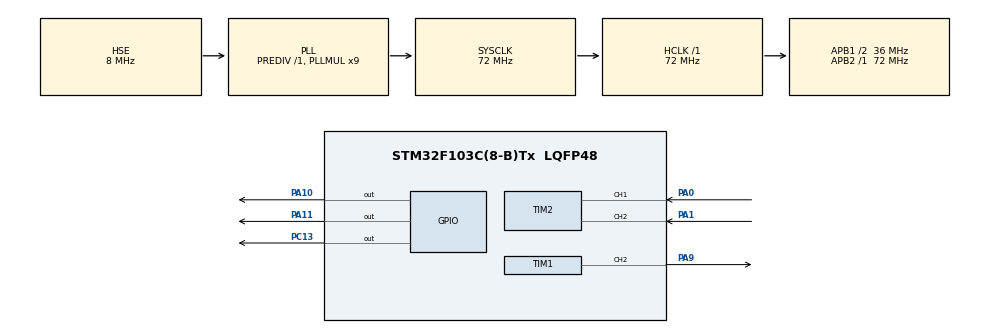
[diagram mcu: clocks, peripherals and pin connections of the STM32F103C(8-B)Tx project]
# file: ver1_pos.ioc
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Mcu.Family=STM32F1
Mcu.Name=STM32F103C(8-B)Tx
Mcu.Package=LQFP48
NVIC.PriorityGroup=NVIC_PRIORITYGROUP_4
NVIC.TIM1_UP_IRQn=true\:0\:0\:false\:false\:true\:true\:true\:true
PA0-WKUP.Signal=S_TIM2_CH1_ETR
PA1.Signal=S_TIM2_CH2
PA10.Signal=GPIO_Output
PA11.Signal=GPIO_Output
PA13.Mode=Serial_Wire
PA13.Signal=SYS_JTMS-SWDIO
PA14.Mode=Serial_Wire
PA14.Signal=SYS_JTCK-SWCLK
PA9.Signal=S_TIM1_CH2
PC13-TAMPER-RTC.Signal=GPIO_Output
PD0-OSC_IN.Mode=HSE-External-Oscillator
PD0-OSC_IN.Signal=RCC_OSC_IN
PD1-OSC_OUT.Mode=HSE-External-Oscillator
PD1-OSC_OUT.Signal=RCC_OSC_OUT
ProjectManager.HeapSize=0x200
ProjectManager.StackSize=0x400
ProjectManager.TargetToolchain=MDK-ARM V5.32
RCC.AHBFreq_Value=72000000
RCC.APB1CLKDivider=RCC_HCLK_DIV2
RCC.APB1Freq_Value=36000000
RCC.APB1TimFreq_Value=72000000
RCC.APB2Freq_Value=72000000
RCC.APB2TimFreq_Value=72000000
RCC.HCLKFreq_Value=72000000
RCC.PLLMUL=RCC_PLL_MUL9
RCC.PLLSourceVirtual=RCC_PLLSOURCE_HSE
RCC.SYSCLKFreq_VALUE=72000000
RCC.SYSCLKSource=RCC_SYSCLKSOURCE_PLLCLK
RCC.USBFreq_Value=72000000
SH.S_TIM1_CH2.0=TIM1_CH2,PWM Generation2 CH2
SH.S_TIM2_CH1_ETR.0=TIM2_CH1,Encoder_Interface
SH.S_TIM2_CH2.0=TIM2_CH2,Encoder_Interface
TIM1.Channel-PWM\ Generation2\ CH2=TIM_CHANNEL_2
TIM1.Period=255
TIM1.Prescaler=2811
VP_TIM1_VS_ClockSourceINT.Mode=Internal
board=custom

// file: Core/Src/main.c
/* USER CODE BEGIN Header */
/**
  ******************************************************************************
  * @file           : main.c
  * @brief          : Main program body
  ******************************************************************************
  * @attention
  *
  * Copyright (c) 2025 STMicroelectronics.
  * All rights reserved.
  *
  * This software is licensed under terms that can be found in the LICENSE file
  * in the root directory of this software component.
  * If no LICENSE file comes with this software, it is provided AS-IS.
  *
  ******************************************************************************
  */
/* USER CODE END Header */
#include "main.h"

/* USER CODE BEGIN Includes */
#include "math.h"
/* USER CODE END Includes */

TIM_HandleTypeDef htim1;
TIM_HandleTypeDef htim2;

void SystemClock_Config(void);
static void MX_GPIO_Init(void);
static void MX_TIM1_Init(void);
static void MX_TIM2_Init(void);

/* USER CODE BEGIN 0 */
#define COUNTER_MAX 65536
#define COUNTER_MID (COUNTER_MAX / 2)
#define RESET_VALUE 0
#define dt 0.01f

volatile short count_chuan = 0;
volatile long long total_ticks = 0;

float Error, angle_current, P_part, I_part, D_part, pre_Error, pre_pre_Error;
uint8_t Out, pre_Out;
float Kp = 10, Ki = 5, Kd = 2.5;

void control_motor(uint8_t dir) {
    if (dir > 0) {
        HAL_GPIO_WritePin(GPIOA, GPIO_PIN_10, 1);
        HAL_GPIO_WritePin(GPIOA, GPIO_PIN_11, 0);
    } else {
        HAL_GPIO_WritePin(GPIOA, GPIO_PIN_10, 0);
        HAL_GPIO_WritePin(GPIOA, GPIO_PIN_11, 1);
    }
}

int32_t processEncoderCount(void) {
    uint16_t raw_count = __HAL_TIM_GET_COUNTER(&htim2);
    int32_t calibrated_count;

    if (raw_count >= COUNTER_MID) {
        calibrated_count = -(COUNTER_MAX - raw_count);
    } else {
        calibrated_count = raw_count;
    }

    if (calibrated_count >= COUNTER_MID || calibrated_count <= -COUNTER_MID) {
        calibrated_count = 0;
        __HAL_TIM_SET_COUNTER(&htim2, 0);
    }

    return calibrated_count;
}

void PID(uint8_t setpoint) {
    count_chuan = processEncoderCount();

    angle_current = count_chuan * (360.0f / 985.0f);

    if (angle_current < setpoint) {
        control_motor(0);
    } else {
        control_motor(1);
    }
    Error = (float)setpoint - angle_current;

    P_part = Kp * (Error - pre_Error);
    I_part = 0.5f * Ki * dt * (Error + pre_Error);
    D_part = Kd / dt * (Error - 2 * pre_Error + pre_pre_Error);

    Out = pre_Out + P_part + I_part + D_part;

    if (Out > 200) Out = 200;
    if (Out < 0) Out = 0;

    if (fabs(Error) < 1.0f) {
        __HAL_TIM_SET_COMPARE(&htim1, TIM_CHANNEL_2, 0);
        return;
    }

    __HAL_TIM_SET_COMPARE(&htim1, TIM_CHANNEL_2, (uint8_t)Out);

    pre_pre_Error = pre_Error;
    pre_Error = Error;
    pre_Out = Out;
}

void HAL_TIM_PeriodElapsedCallback(TIM_HandleTypeDef *htim) {
    if (htim->Instance == htim1.Instance) {
        PID(250);
    }
}

/* USER CODE END 0 */

int main(void)
{

  /* MCU Configuration--------------------------------------------------------*/

  /* Reset of all peripherals, Initializes the Flash interface and the Systick. */
  HAL_Init();

  /* Configure the system clock */
  SystemClock_Config();

  /* Initialize all configured peripherals */
  MX_GPIO_Init();
  MX_TIM1_Init();
  MX_TIM2_Init();
  /* USER CODE BEGIN 2 */
	HAL_TIM_Base_Start_IT(&htim1);
	HAL_TIM_PWM_Start(&htim1, TIM_CHANNEL_2);
	HAL_TIM_Encoder_Start(&htim2, TIM_CHANNEL_ALL);
  /* USER CODE END 2 */

  /* Infinite loop */
  while (1)
  {

  }
}

void SystemClock_Config(void)
{
  RCC_OscInitTypeDef RCC_OscInitStruct = {0};
  RCC_ClkInitTypeDef RCC_ClkInitStruct = {0};

  /** Initializes the RCC Oscillators according to the specified parameters
  * in the RCC_OscInitTypeDef structure.
  */
  RCC_OscInitStruct.OscillatorType = RCC_OSCILLATORTYPE_HSE;
  RCC_OscInitStruct.HSEState = RCC_HSE_ON;
  RCC_OscInitStruct.HSEPredivValue = RCC_HSE_PREDIV_DIV1;
  RCC_OscInitStruct.HSIState = RCC_HSI_ON;
  RCC_OscInitStruct.PLL.PLLState = RCC_PLL_ON;
  RCC_OscInitStruct.PLL.PLLSource = RCC_PLLSOURCE_HSE;
  RCC_OscInitStruct.PLL.PLLMUL = RCC_PLL_MUL9;
  if (HAL_RCC_OscConfig(&RCC_OscInitStruct) != HAL_OK)
  {
    Error_Handler();
  }

  /** Initializes the CPU, AHB and APB buses clocks
  */
  RCC_ClkInitStruct.ClockType = RCC_CLOCKTYPE_HCLK|RCC_CLOCKTYPE_SYSCLK
                              |RCC_CLOCKTYPE_PCLK1|RCC_CLOCKTYPE_PCLK2;
  RCC_ClkInitStruct.SYSCLKSource = RCC_SYSCLKSOURCE_PLLCLK;
  RCC_ClkInitStruct.AHBCLKDivider = RCC_SYSCLK_DIV1;
  RCC_ClkInitStruct.APB1CLKDivider = RCC_HCLK_DIV2;
  RCC_ClkInitStruct.APB2CLKDivider = RCC_HCLK_DIV1;

  if (HAL_RCC_ClockConfig(&RCC_ClkInitStruct, FLASH_LATENCY_2) != HAL_OK)
  {
    Error_Handler();
  }
}

static void MX_TIM1_Init(void)
{

  TIM_ClockConfigTypeDef sClockSourceConfig = {0};
  TIM_MasterConfigTypeDef sMasterConfig = {0};
  TIM_OC_InitTypeDef sConfigOC = {0};
  TIM_BreakDeadTimeConfigTypeDef sBreakDeadTimeConfig = {0};

  htim1.Instance = TIM1;
  htim1.Init.Prescaler = 2811;
  htim1.Init.CounterMode = TIM_COUNTERMODE_UP;
  htim1.Init.Period = 255;
  htim1.Init.ClockDivision = TIM_CLOCKDIVISION_DIV1;
  htim1.Init.RepetitionCounter = 0;
  htim1.Init.AutoReloadPreload = TIM_AUTORELOAD_PRELOAD_DISABLE;
  if (HAL_TIM_Base_Init(&htim1) != HAL_OK)
  {
    Error_Handler();
  }
  sClockSourceConfig.ClockSource = TIM_CLOCKSOURCE_INTERNAL;
  if (HAL_TIM_ConfigClockSource(&htim1, &sClockSourceConfig) != HAL_OK)
  {
    Error_Handler();
  }
  if (HAL_TIM_PWM_Init(&htim1) != HAL_OK)
  {
    Error_Handler();
  }
  sMasterConfig.MasterOutputTrigger = TIM_TRGO_RESET;
  sMasterConfig.MasterSlaveMode = TIM_MASTERSLAVEMODE_DISABLE;
  if (HAL_TIMEx_MasterConfigSynchronization(&htim1, &sMasterConfig) != HAL_OK)
  {
    Error_Handler();
  }
  sConfigOC.OCMode = TIM_OCMODE_PWM1;
  sConfigOC.Pulse = 0;
  sConfigOC.OCPolarity = TIM_OCPOLARITY_HIGH;
  sConfigOC.OCNPolarity = TIM_OCNPOLARITY_HIGH;
  sConfigOC.OCFastMode = TIM_OCFAST_DISABLE;
  sConfigOC.OCIdleState = TIM_OCIDLESTATE_RESET;
  sConfigOC.OCNIdleState = TIM_OCNIDLESTATE_RESET;
  if (HAL_TIM_PWM_ConfigChannel(&htim1, &sConfigOC, TIM_CHANNEL_2) != HAL_OK)
  {
    Error_Handler();
  }
  sBreakDeadTimeConfig.OffStateRunMode = TIM_OSSR_DISABLE;
  sBreakDeadTimeConfig.OffStateIDLEMode = TIM_OSSI_DISABLE;
  sBreakDeadTimeConfig.LockLevel = TIM_LOCKLEVEL_OFF;
  sBreakDeadTimeConfig.DeadTime = 0;
  sBreakDeadTimeConfig.BreakState = TIM_BREAK_DISABLE;
  sBreakDeadTimeConfig.BreakPolarity = TIM_BREAKPOLARITY_HIGH;
  sBreakDeadTimeConfig.AutomaticOutput = TIM_AUTOMATICOUTPUT_DISABLE;
  if (HAL_TIMEx_ConfigBreakDeadTime(&htim1, &sBreakDeadTimeConfig) != HAL_OK)
  {
    Error_Handler();
  }
  HAL_TIM_MspPostInit(&htim1);

}

static void MX_TIM2_Init(void)
{

  TIM_Encoder_InitTypeDef sConfig = {0};
  TIM_MasterConfigTypeDef sMasterConfig = {0};

  htim2.Instance = TIM2;
  htim2.Init.Prescaler = 0;
  htim2.Init.CounterMode = TIM_COUNTERMODE_UP;
  htim2.Init.Period = 65535;
  htim2.Init.ClockDivision = TIM_CLOCKDIVISION_DIV1;
  htim2.Init.AutoReloadPreload = TIM_AUTORELOAD_PRELOAD_DISABLE;
  sConfig.EncoderMode = TIM_ENCODERMODE_TI1;
  sConfig.IC1Polarity = TIM_ICPOLARITY_RISING;
  sConfig.IC1Selection = TIM_ICSELECTION_DIRECTTI;
  sConfig.IC1Prescaler = TIM_ICPSC_DIV1;
  sConfig.IC1Filter = 0;
  sConfig.IC2Polarity = TIM_ICPOLARITY_RISING;
  sConfig.IC2Selection = TIM_ICSELECTION_DIRECTTI;
  sConfig.IC2Prescaler = TIM_ICPSC_DIV1;
  sConfig.IC2Filter = 0;
  if (HAL_TIM_Encoder_Init(&htim2, &sConfig) != HAL_OK)
  {
    Error_Handler();
  }
  sMasterConfig.MasterOutputTrigger = TIM_TRGO_RESET;
  sMasterConfig.MasterSlaveMode = TIM_MASTERSLAVEMODE_DISABLE;
  if (HAL_TIMEx_MasterConfigSynchronization(&htim2, &sMasterConfig) != HAL_OK)
  {
    Error_Handler();
  }

}

static void MX_GPIO_Init(void)
{
  GPIO_InitTypeDef GPIO_InitStruct = {0};

  /* GPIO Ports Clock Enable */
  __HAL_RCC_GPIOC_CLK_ENABLE();
  __HAL_RCC_GPIOD_CLK_ENABLE();
  __HAL_RCC_GPIOA_CLK_ENABLE();

  /*Configure GPIO pin Output Level */
  HAL_GPIO_WritePin(GPIOC, GPIO_PIN_13, GPIO_PIN_RESET);

  /*Configure GPIO pin Output Level */
  HAL_GPIO_WritePin(GPIOA, GPIO_PIN_10|GPIO_PIN_11, GPIO_PIN_RESET);

  /*Configure GPIO pin : PC13 */
  GPIO_InitStruct.Pin = GPIO_PIN_13;
  GPIO_InitStruct.Mode = GPIO_MODE_OUTPUT_PP;
  GPIO_InitStruct.Pull = GPIO_NOPULL;
  GPIO_InitStruct.Speed = GPIO_SPEED_FREQ_LOW;
  HAL_GPIO_Init(GPIOC, &GPIO_InitStruct);

  /*Configure GPIO pins : PA10 PA11 */
  GPIO_InitStruct.Pin = GPIO_PIN_10|GPIO_PIN_11;
  GPIO_InitStruct.Mode = GPIO_MODE_OUTPUT_PP;
  GPIO_InitStruct.Pull = GPIO_NOPULL;
  GPIO_InitStruct.Speed = GPIO_SPEED_FREQ_LOW;
  HAL_GPIO_Init(GPIOA, &GPIO_InitStruct);

}

void Error_Handler(void)
{
  __disable_irq();
  while (1)
  {
  }
}
